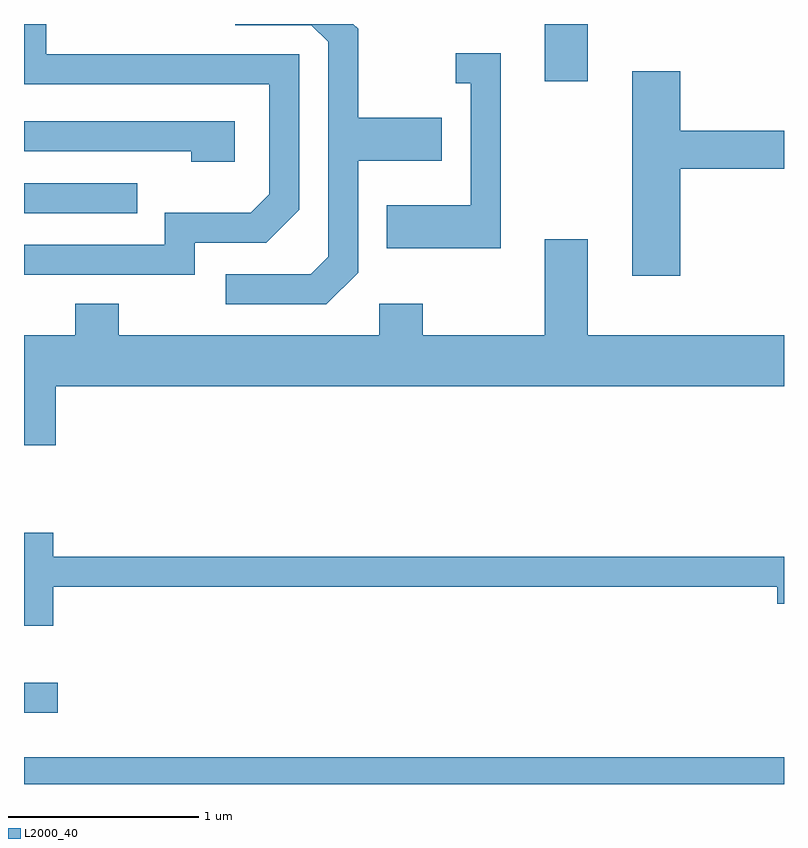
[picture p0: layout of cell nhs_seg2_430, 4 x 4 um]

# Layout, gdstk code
import gdstk
lib = gdstk.Library(unit=1e-6, precision=1e-09)
def R(c, l, rs):  # rectangles x0, y0, x1, y1
    for r in rs: c.add(gdstk.rectangle(r[:2], r[2:], *l))
def P(c, l, *ps):  # polygons
    for p in ps: c.add(gdstk.Polygon(p, *l))
L2000_40 = (2000, 40)

nhs_seg2_430 = lib.new_cell('nhs_seg2_430')
R(nhs_seg2_430, L2000_40, [(197.611,1021.802,201.611,1021.944), (197.611,1022.176,197.788,1022.334), (197.611,1024.806,198.208,1024.964), (200.351,1025.501,200.579,1025.802)])
P(nhs_seg2_430, L2000_40, [(198.509,1024.651),(198.887,1024.651),(199.059,1024.824),(199.059,1025.644),(197.729,1025.644),(197.729,1025.802),(197.611,1025.802),(197.611,1025.486),(198.901,1025.486),(198.901,1024.907),(198.804,1024.809),(198.351,1024.809),(198.351,1024.639),(197.611,1024.639),(197.611,1024.481),(198.509,1024.481)],
  [(199.369,1024.494),(199.369,1025.081),(199.809,1025.081),(199.809,1025.309),(199.369,1025.309),(199.369,1025.777),(199.344,1025.802),(198.723,1025.802),(198.723,1025.796),(199.124,1025.796),(199.211,1025.709),(199.211,1024.577),(199.119,1024.484),(198.673,1024.484),(198.673,1024.326),(199.202,1024.326)],
  [(200.119,1025.649),(199.883,1025.649),(199.883,1025.491),(199.961,1025.491),(199.961,1024.849),(199.521,1024.849),(199.521,1024.621),(200.119,1024.621)],
  [(201.064,1025.041),(201.611,1025.041),(201.611,1025.239),(201.064,1025.239),(201.064,1025.554),(200.811,1025.554),(200.811,1024.476),(201.064,1024.476)],
  [(198.719,1025.289),(197.611,1025.289),(197.611,1025.131),(198.491,1025.131),(198.491,1025.076),(198.719,1025.076)],
  [(197.779,1023.896),(201.611,1023.896),(201.611,1024.164),(200.579,1024.164),(200.579,1024.669),(200.351,1024.669),(200.351,1024.164),(199.709,1024.164),(199.709,1024.329),(199.481,1024.329),(199.481,1024.164),(198.109,1024.164),(198.109,1024.329),(197.881,1024.329),(197.881,1024.164),(197.611,1024.164),(197.611,1023.586),(197.779,1023.586)],
  [(197.764,1022.841),(201.576,1022.841),(201.576,1022.751),(201.611,1022.751),(201.611,1022.999),(197.764,1022.999),(197.764,1023.124),(197.611,1023.124),(197.611,1022.636),(197.764,1022.636)])

lib.write_gds('nhs_seg2_430.gds')
